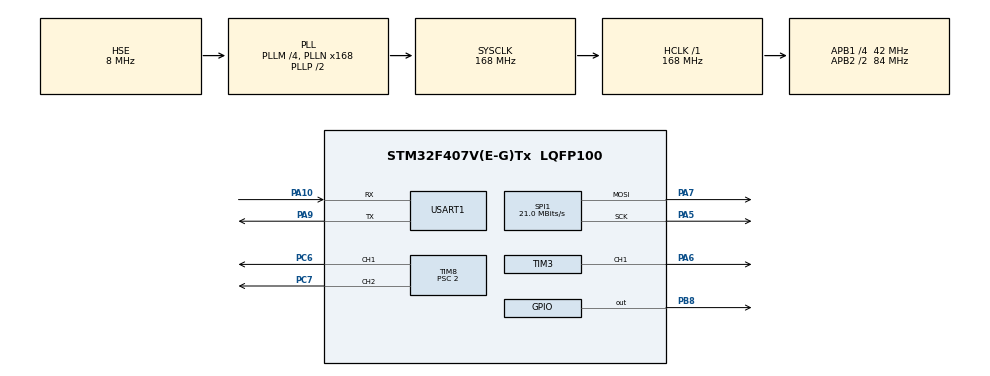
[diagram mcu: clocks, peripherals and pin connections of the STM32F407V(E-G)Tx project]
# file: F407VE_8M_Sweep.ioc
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Mcu.Family=STM32F4
Mcu.Name=STM32F407V(E-G)Tx
Mcu.Package=LQFP100
NVIC.PriorityGroup=NVIC_PRIORITYGROUP_4
NVIC.USART1_IRQn=true\:0\:0\:false\:false\:true\:true\:true
PA10.GPIO_PuPd=GPIO_PULLUP
PA10.Mode=Asynchronous
PA10.Signal=USART1_RX
PA13.Mode=Serial_Wire
PA13.Signal=SYS_JTMS-SWDIO
PA14.Mode=Serial_Wire
PA14.Signal=SYS_JTCK-SWCLK
PA5.Mode=TX_Only_Simplex_Unidirect_Master
PA5.Signal=SPI1_SCK
PA6.Signal=S_TIM3_CH1
PA7.Mode=TX_Only_Simplex_Unidirect_Master
PA7.Signal=SPI1_MOSI
PA9.GPIO_PuPd=GPIO_PULLUP
PA9.Mode=Asynchronous
PA9.Signal=USART1_TX
PB8.GPIO_ModeDefaultOutputPP=GPIO_MODE_OUTPUT_PP
PB8.GPIO_PuPd=GPIO_PULLUP
PB8.GPIO_Speed=GPIO_SPEED_FREQ_VERY_HIGH
PB8.PinState=GPIO_PIN_SET
PB8.Signal=GPIO_Output
PC14-OSC32_IN.Mode=LSE-External-Oscillator
PC14-OSC32_IN.Signal=RCC_OSC32_IN
PC15-OSC32_OUT.Mode=LSE-External-Oscillator
PC15-OSC32_OUT.Signal=RCC_OSC32_OUT
PC6.Signal=S_TIM8_CH1
PC7.Signal=S_TIM8_CH2
PH0-OSC_IN.Mode=HSE-External-Oscillator
PH0-OSC_IN.Signal=RCC_OSC_IN
PH1-OSC_OUT.Mode=HSE-External-Oscillator
PH1-OSC_OUT.Signal=RCC_OSC_OUT
ProjectManager.HeapSize=0x200
ProjectManager.StackSize=0x400
ProjectManager.TargetToolchain=MDK-ARM V5.32
RCC.48MHZClocksFreq_Value=84000000
RCC.AHBFreq_Value=168000000
RCC.APB1CLKDivider=RCC_HCLK_DIV4
RCC.APB1Freq_Value=42000000
RCC.APB1TimFreq_Value=84000000
RCC.APB2CLKDivider=RCC_HCLK_DIV2
RCC.APB2Freq_Value=84000000
RCC.APB2TimFreq_Value=168000000
RCC.CortexFreq_Value=168000000
RCC.HCLKFreq_Value=168000000
RCC.HSE_VALUE=8000000
RCC.HSI_VALUE=16000000
RCC.PLLM=4
RCC.PLLN=168
RCC.PLLSourceVirtual=RCC_PLLSOURCE_HSE
RCC.SYSCLKFreq_VALUE=168000000
RCC.SYSCLKSource=RCC_SYSCLKSOURCE_PLLCLK
RCC.VCOOutputFreq_Value=336000000
SH.S_TIM3_CH1.0=TIM3_CH1,PWM Generation1 CH1
SH.S_TIM8_CH1.0=TIM8_CH1,PWM Generation1 CH1
SH.S_TIM8_CH2.0=TIM8_CH2,PWM Generation2 CH2
SPI1.BaudRatePrescaler=SPI_BAUDRATEPRESCALER_4
SPI1.CLKPhase=SPI_PHASE_1EDGE
SPI1.CLKPolarity=SPI_POLARITY_HIGH
SPI1.CalculateBaudRate=21.0 MBits/s
SPI1.DataSize=SPI_DATASIZE_16BIT
SPI1.Direction=SPI_DIRECTION_2LINES
SPI1.Mode=SPI_MODE_MASTER
SPI1.VirtualType=VM_MASTER
TIM3.AutoReloadPreload=TIM_AUTORELOAD_PRELOAD_ENABLE
TIM3.Channel-PWM\ Generation1\ CH1=TIM_CHANNEL_1
TIM3.Period=1679
TIM3.Prescaler=2000
TIM3.Pulse-PWM\ Generation1\ CH1=840
TIM8.AutoReloadPreload=TIM_AUTORELOAD_PRELOAD_ENABLE
TIM8.Channel-PWM\ Generation1\ CH1=TIM_CHANNEL_1
TIM8.Channel-PWM\ Generation2\ CH2=TIM_CHANNEL_2
TIM8.OCPolarity_1=TIM_OCPOLARITY_HIGH
TIM8.OCPolarity_2=TIM_OCPOLARITY_HIGH
TIM8.Period=3
TIM8.Prescaler=2
TIM8.Pulse-PWM\ Generation1\ CH1=2
TIM8.Pulse-PWM\ Generation2\ CH2=2
USART1.VirtualMode=VM_ASYNC
board=custom

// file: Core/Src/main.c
/* USER CODE BEGIN Header */
/**
  ******************************************************************************
  * @file           : main.c
  * @brief          : Main program body
  ******************************************************************************
  * @attention
  *
  * <h2><center>&copy; Copyright (c) 2021 STMicroelectronics.
  * All rights reserved.</center></h2>
  *
  * This software component is licensed by ST under BSD 3-Clause license,
  * the "License"; You may not use this file except in compliance with the
  * License. You may obtain a copy of the License at:
  *                        opensource.org/licenses/BSD-3-Clause
  *
  ******************************************************************************
  */
/* USER CODE END Header */
#include "main.h"
#include "spi.h"
#include "tim.h"
#include "usart.h"
#include "gpio.h"

/* USER CODE BEGIN Includes */
#include "AD9834/ad9834.h"
#include "PARAIO/paraio.h"
#include "sweep.h"
#include "arm_math.h"
/* USER CODE END Includes */

/* USER CODE BEGIN PD */
#define DEBUG_MODE 0
/* USER CODE END PD */

/* USER CODE BEGIN PV */
MyUARTHandle uart1;
uint8_t uartBuf1[100];
uint16_t adcBuf[ADC_LEN + ADC_PIPELINE_DELAY];
uint16_t adcBuf2[ADC_LEN + ADC_PIPELINE_DELAY];
double freq[SWEEP_LEN_MAX], amp[SWEEP_LEN_MAX], ph[SWEEP_LEN_MAX];
uint32_t sortedIndex[SWEEP_LEN_MAX];
double sortedFreq[SWEEP_LEN_MAX], sortedAmp[SWEEP_LEN_MAX];
double midTmp[30] = {0};
/* USER CODE END PV */

void SystemClock_Config(void);

int main(void)
{
  /* USER CODE BEGIN 1 */
  uint32_t i, j;
  uint16_t amp1, amp2;
  int32_t phase;
  uint32_t tmp;

  /* USER CODE END 1 */

  /* MCU Configuration--------------------------------------------------------*/

  /* Reset of all peripherals, Initializes the Flash interface and the Systick. */
  HAL_Init();

  /* Configure the system clock */
  SystemClock_Config();

  /* Initialize all configured peripherals */
  MX_GPIO_Init();
  MX_USART1_UART_Init();
  MX_TIM8_Init();
  MX_SPI1_Init();
  MX_TIM3_Init();
  /* USER CODE BEGIN 2 */
  Delay_Init(168);
  MyUART_Init(&uart1, USART1, uartBuf1, 100);
  //printf("Sweep Test\r\n");

  HAL_TIM_PWM_Start(&htim3, TIM_CHANNEL_1);
  LED_off();

  AD9834_Init(&hspi1);
  AD9834_SelectReg(0, 0);
  AD9834_SetWaveType(AD9834_Sine, AD9834_SOff);

  HAL_TIM_PWM_Start(&htim8, TIM_CHANNEL_1);
  HAL_TIM_PWM_Start(&htim8, TIM_CHANNEL_2);
  ParaIO_Init_In(&htim8, 16, 0);
  ParaIO_Init_In2(&htim8, 16, 0);

  calibrate(30, UBAND_THRE);

  /* USER CODE END 2 */

  /* Infinite loop */
  while (1)
  {

    /* USER CODE BEGIN 3 */

    i = 0;
    j = 0;

    double ave = 0;
    uint32_t refMaxId, refMinId;
    double refMaxAmp, refMinAmp, refMaxFreq, refMinFreq, refDeltaAmp;
    double ep = 0, epAmp = 0;
    tmp = sweep(30, UBAND_THRE, NULL);

#if (DEBUG_MODE == 0)
    for (i = 0; i < tmp; i++)
    {
      sortedIndex[i] = i;
      sortedAmp[i] = amp[i];
      sortedFreq[i] = freq[i];
      ave += amp[i];
      if (fabs(amp[i] - 0.70711) < fabs(amp[j] - 0.70711))
      {
        //printf("update:%f,%f\r\n", freq[i], amp[i]);
        j = i;
      }
    }
    ave /= tmp;

    mySort(sortedIndex, sortedAmp, sortedFreq, tmp);

    refMaxId = sortedIndex[tmp - 1 - 1];
    refMinId = sortedIndex[1];
    refMaxAmp = sortedAmp[tmp - 1 - 1];
    refMinAmp = sortedAmp[1];
    refMaxFreq = sortedFreq[tmp - 1 - 1];
    refMinFreq = sortedFreq[1];
    refDeltaAmp = refMaxAmp - refMinAmp;

    if (refMaxAmp < 0.08)
    {
      LED_fast();
      printf("Short\r\n");
    }
    else if (refMinAmp > 0.97)
    {
      LED_slow();
      printf("Open\r\n");
    }
    else
    {
      LED_off();
      if (refDeltaAmp < 0.1)
      {
        printf("R:%f\r\n", calc_R(ave));
      }
      else
      {
        // amp[0] is not always reliable
        printf("Search:%f,%f\r\n", freq[j - 2], freq[j + 2]);
        if(refMaxFreq < 1000000 && refMaxFreq > 2000 && amp[1] < ave && amp[tmp - 1 - 1] < ave)
        {
          printf("LC parallel\r\n");
        }
        else if(refMinFreq < 1000000 && refMinFreq > 2000 && amp[1] > ave && amp[tmp - 1 - 1] > ave)
        {
          if(sortedAmp[0] < 0.1)
            printf("LC serial\r\n");
          else
            printf("RLC serial\r\n");
        }

        else if (amp[1] > amp[tmp - 1 - 1])
        {
          if(amp[1] < 0.9)
          {
            printf("RC parallel\r\n");
          }
          else if(amp[tmp - 1 - 1] > 0.1)
          {
            printf("RC serial\r\n");
          }
          else
          {
            for (i = 0; i < 15; i++)
            {
              ep = freqSearch(freq[j - 2], freq[j + 2], amp[j - 2], amp[j + 2], 0.70711, 0.001, &epAmp);
              midTmp[i] = calc_C(ep, epAmp);
            }
            simpleSort(midTmp, 15);
            printf("C:%f\r\n", getAve(midTmp + 3, 9));
          }
        }
        else if (amp[1] < amp[tmp - 1 - 1])
        {
          if(amp[tmp - 1 - 1] < 0.9)
          {
            printf("RL parallel\r\n");
          }
          else if(amp[1] > 0.1)
          {
            printf("RL serial\r\n");
          }
          else
          {
            for (i = 0; i < 15; i++)
            {
              ep = freqSearch(freq[j - 2], freq[j + 2], amp[j - 2], amp[j + 2], 0.70711, 0.001, &epAmp);
              midTmp[i] = calc_L(ep, epAmp);
            }
            simpleSort(midTmp, 15);
            printf("L:%f\r\n", getAve(midTmp + 3, 9));
          }
        }
      }
    }

    Delay_ms(500);

#elif (DEBUG_MODE == 1)
    for(i = 0; i < tmp; i++)
    {
      printf("-%d,%f,%f\r\n", (uint32_t)freq[i], amp[i], ph[i]);
    }
#endif

  }
  /* USER CODE END 3 */
}

void SystemClock_Config(void)
{
  RCC_OscInitTypeDef RCC_OscInitStruct = {0};
  RCC_ClkInitTypeDef RCC_ClkInitStruct = {0};

  /** Configure the main internal regulator output voltage
  */
  __HAL_RCC_PWR_CLK_ENABLE();
  __HAL_PWR_VOLTAGESCALING_CONFIG(PWR_REGULATOR_VOLTAGE_SCALE1);
  /** Initializes the RCC Oscillators according to the specified parameters
  * in the RCC_OscInitTypeDef structure.
  */
  RCC_OscInitStruct.OscillatorType = RCC_OSCILLATORTYPE_HSE;
  RCC_OscInitStruct.HSEState = RCC_HSE_ON;
  RCC_OscInitStruct.PLL.PLLState = RCC_PLL_ON;
  RCC_OscInitStruct.PLL.PLLSource = RCC_PLLSOURCE_HSE;
  RCC_OscInitStruct.PLL.PLLM = 4;
  RCC_OscInitStruct.PLL.PLLN = 168;
  RCC_OscInitStruct.PLL.PLLP = RCC_PLLP_DIV2;
  RCC_OscInitStruct.PLL.PLLQ = 4;
  if (HAL_RCC_OscConfig(&RCC_OscInitStruct) != HAL_OK)
  {
    Error_Handler();
  }
  /** Initializes the CPU, AHB and APB buses clocks
  */
  RCC_ClkInitStruct.ClockType = RCC_CLOCKTYPE_HCLK|RCC_CLOCKTYPE_SYSCLK
                              |RCC_CLOCKTYPE_PCLK1|RCC_CLOCKTYPE_PCLK2;
  RCC_ClkInitStruct.SYSCLKSource = RCC_SYSCLKSOURCE_PLLCLK;
  RCC_ClkInitStruct.AHBCLKDivider = RCC_SYSCLK_DIV1;
  RCC_ClkInitStruct.APB1CLKDivider = RCC_HCLK_DIV4;
  RCC_ClkInitStruct.APB2CLKDivider = RCC_HCLK_DIV2;

  if (HAL_RCC_ClockConfig(&RCC_ClkInitStruct, FLASH_LATENCY_5) != HAL_OK)
  {
    Error_Handler();
  }
}

void Error_Handler(void)
{
  __disable_irq();
  while (1)
  {
  }
}

/************************ (C) COPYRIGHT STMicroelectronics *****END OF FILE****/
